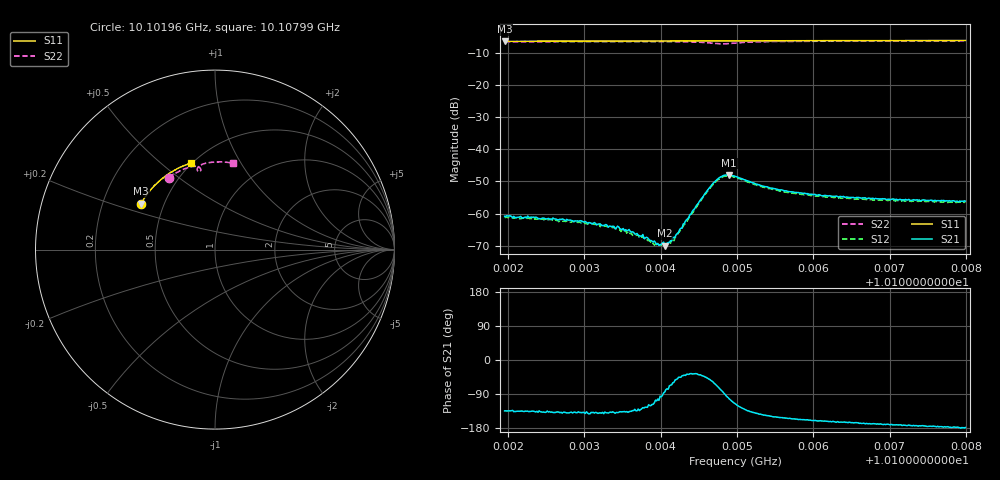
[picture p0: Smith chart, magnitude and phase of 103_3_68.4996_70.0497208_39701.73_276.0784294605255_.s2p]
#  HZ  S  RI  R  50.00
! Rohde & Schwarz Vector Network Analyzer
! Rohde-Schwarz,ZNB20-2Port,1311601062101988,3.16
! Created: UTC 3/20/2024, 5:08:18 PM
! freq[Hz]  re:S11  im:S11  re:S21  im:S21  re:S12  im:S12  re:S22  im:S22
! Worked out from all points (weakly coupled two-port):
!   401 points, 10.10196 GHz to 10.10799 GHz, reference 50 ohm
!   highest |S21| = -47.95 dB at 10.1049 GHz (marker M1); lowest = -70.0 dB at 10.10405 GHz (marker M2)
!   lowest |S11| = -6.3 dB at 10.10196 GHz (marker M3), VSWR 2.88, Z = 18.6 + j12.4 ohm
!   |S11| at or under -10 dB: nowhere
!   |S22| runs from -7.1 to -6.2 dB; largest |S21 - S12| = 0.00041
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1.0101957e10  -0.4118 0.2556  -0.000634 -0.000651  -0.000532 -0.000669  -0.2581 0.4013
1.010247e10  -0.3959 0.2824  -0.000621 -0.000577  -0.000541 -0.000582  -0.2302 0.4195
1.0102968e10  -0.3788 0.3074  -0.000575 -0.0005  -0.00049 -0.000497  -0.2014 0.4357
1.0103255e10  -0.3683 0.3213  -0.00051 -0.000402  -0.000455 -0.000448  -0.1842 0.4439
1.0103572e10  -0.3561 0.336  -0.000402 -0.000366  -0.00034 -0.000383  -0.1641 0.4523
1.0103783e10  -0.3474 0.3457  -0.000244 -0.000329  -0.000238 -0.000348  -0.15 0.4571
1.0103934e10  -0.3413 0.3525  -9.63e-05 -0.00034  -0.000116 -0.000317  -0.1394 0.4604
1.0103979e10  -0.3395 0.3544  -9.04e-05 -0.000306  -4.13e-05 -0.000325  -0.1361 0.4609
1.0104055e10  -0.3363 0.3576  2.99e-05 -0.000314  5.87e-05 -0.000308  -0.1304 0.4623
1.0104085e10  -0.3349 0.3591  8.38e-05 -0.000336  0.000117 -0.000311  -0.128 0.4629
1.0104206e10  -0.3298 0.3641  0.000294 -0.000369  0.000314 -0.000315  -0.1183 0.4643
1.0104553e10  -0.3144 0.3785  0.00134 -0.00121  0.00142 -0.00105  -0.0868 0.4584
1.0104703e10  -0.3076 0.3847  0.00146 -0.00272  0.00163 -0.00246  -0.0792 0.4436
1.0104809e10  -0.3027 0.3888  0.000489 -0.00379  0.000767 -0.0036  -0.0865 0.4346
1.01049e10  -0.2988 0.3922  -0.000871 -0.00391  -0.000475 -0.00379  -0.0959 0.4376
1.0104975e10  -0.2952 0.3952  -0.00161 -0.00345  -0.00127 -0.00346  -0.099 0.4453
1.0105443e10  -0.2729 0.4125  -0.00211 -0.00131  -0.00194 -0.00145  -0.0708 0.4753
1.0105654e10  -0.2624 0.4198  -0.002 -0.00101  -0.00184 -0.0011  -0.0552 0.4802
1.0105986e10  -0.2456 0.4307  -0.00187 -0.000687  -0.00172 -0.000858  -0.0321 0.4848
1.0106529e10  -0.217 0.4474  -0.00172 -0.00043  -0.00156 -0.000565  0.00484 0.4881
1.0106997e10  -0.1918 0.4598  -0.00166 -0.00027  -0.00157 -0.000434  0.0355 0.4883
1.0107993e10  -0.1355 0.4815  -0.00156 -4.57e-05  -0.00151 -0.000191  0.0996 0.4819
